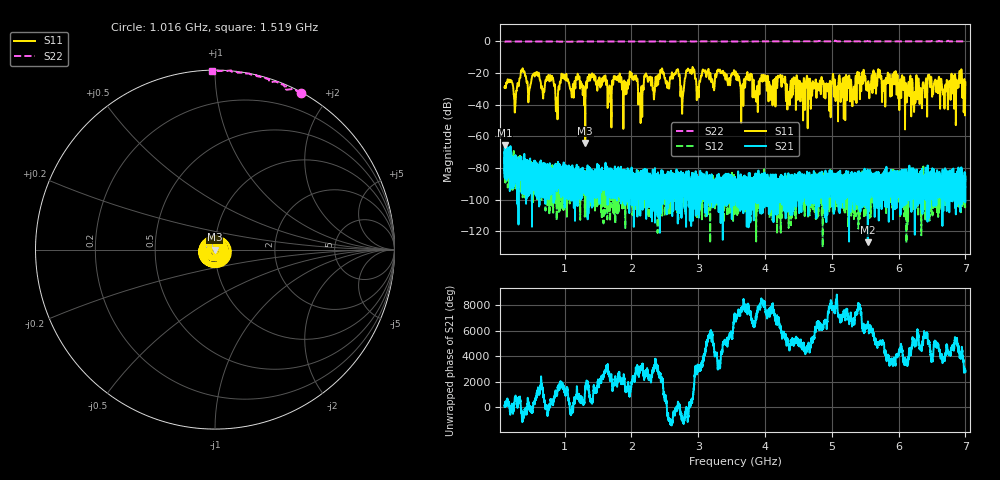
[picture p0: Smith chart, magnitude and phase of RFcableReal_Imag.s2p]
#  HZ  S  RI  R  50.00
! Rohde & Schwarz ZVA24 4Ports - Version 3.12 - 1145.1110k26 SN: 100162
! Date: 2018-05-29 22:57:32
! Measurements: S11 S21 S12 S22
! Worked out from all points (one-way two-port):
!   6900 points, 100 MHz to 7 GHz, reference 50 ohm
!   highest |S21| = -65.44 dB at 103 MHz (marker M1); lowest = -127.0 dB at 5.539 GHz (marker M2)
!   lowest |S11| = -64.2 dB at 1.307 GHz (marker M3), VSWR 1.00, Z = 49.9 + j0.0328 ohm
!   |S11| at or under -10 dB: start of sweep to end of sweep
!   |S22| runs from -0.2 to 0.6 dB; largest |S21 - S12| = 0.00058
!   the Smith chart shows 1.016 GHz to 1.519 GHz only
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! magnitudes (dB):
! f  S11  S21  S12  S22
! 100 MHz  -29.1  -83.2  -73.0  0.0
! 103 MHz  -28.9  -65.4  -76.5  -0.1
! 262 MHz  -38.8  -83.4  -74.0  0.0
! 373 MHz  -17.1  -82.6  -79.5  0.0
! 888.1 MHz  -39.3  -81.2  -85.6  0.0
! 975.1 MHz  -21.6  -87.1  -84.5  0.0
! 1.25 GHz  -27.9  -80.5  -85.8  0.0
! 1.307 GHz  -64.2  -83.3  -92.2  0.0
! 2.003 GHz  -20.3  -91.0  -91.7  0.0
! 2.132 GHz  -36.0  -90.8  -100.3  0.0
! 2.4 GHz  -26.7  -91.2  -96.6  0.0
! 2.687 GHz  -17.7  -91.2  -99.9  0.0
! 2.761 GHz  -40.0  -89.4  -92.0  0.0
! 2.85 GHz  -17.6  -86.0  -92.4  0.0
! 2.998 GHz  -30.9  -97.8  -88.4  0.0
! 3.551 GHz  -20.7  -85.5  -86.1  0.0
! 3.868 GHz  -37.9  -87.9  -95.0  0.0
! 3.973 GHz  -21.1  -87.1  -87.7  0.0
! 4.701 GHz  -30.0  -86.5  -92.9  0.1
! 5.539 GHz  -27.0  -127.0  -91.2  0.2
! 5.851 GHz  -26.4  -86.0  -95.3  0.1
! 7 GHz  -25.9  -86.0  -87.4  0.0
